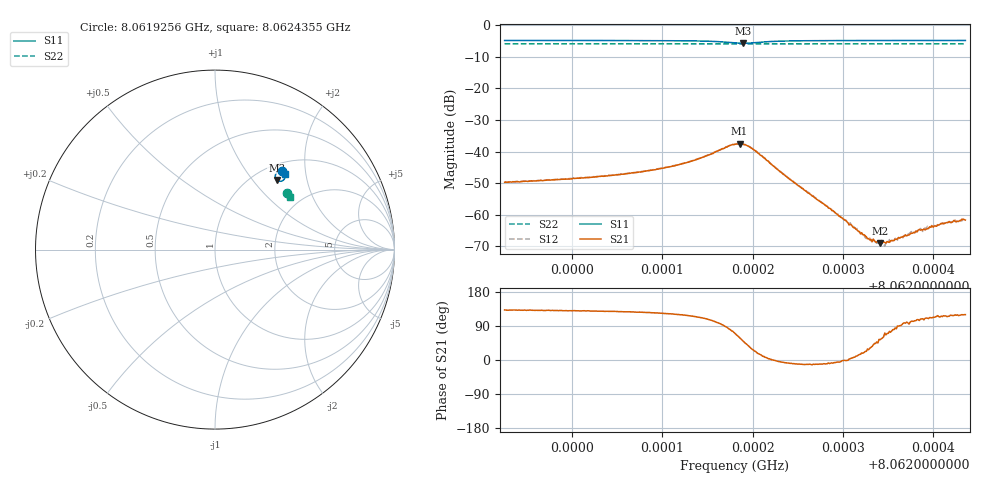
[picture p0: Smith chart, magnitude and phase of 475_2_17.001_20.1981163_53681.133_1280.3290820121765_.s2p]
#  HZ  S  RI  R  50.00
! Rohde & Schwarz Vector Network Analyzer
! Rohde-Schwarz,ZNB20-2Port,1311601062101988,3.16
! Created: UTC 3/20/2024, 11:13:20 PM
! freq[Hz]  re:S11  im:S11  re:S21  im:S21  re:S12  im:S12  re:S22  im:S22
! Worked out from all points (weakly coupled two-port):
!   401 points, 8.0619256 GHz to 8.0624355 GHz, reference 50 ohm
!   highest |S21| = -37.51 dB at 8.0621856 GHz (marker M1); lowest = -69.1 dB at 8.0623411 GHz (marker M2)
!   lowest |S11| = -5.7 dB at 8.0621894 GHz (marker M3), VSWR 3.15, Z = 62.9 + j66.8 ohm
!   |S11| at or under -10 dB: nowhere
!   |S22| runs from -5.9 to -5.8 dB; largest |S21 - S12| = 0.00091
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8.06192556e9  0.3722 0.4396  -0.00219 0.00242  -0.00206 0.00258  0.4012 0.3155
8.06201097e9  0.3786 0.4337  -0.00245 0.00295  -0.0023 0.00312  0.4043 0.3113
8.06204921e9  0.382 0.4301  -0.00263 0.00335  -0.00246 0.00355  0.4058 0.3093
8.06209638e9  0.3865 0.4235  -0.00295 0.00442  -0.00272 0.00466  0.4074 0.3068
8.06213335e9  0.3903 0.4128  -0.00311 0.00644  -0.00271 0.00666  0.4088 0.3045
8.06218052e9  0.3622 0.3804  0.00444 0.0122  0.0052 0.012  0.4087 0.3011
8.06218562e9  0.3513 0.383  0.00686 0.0114  0.00758 0.0111  0.4084 0.3011
8.06218944e9  0.3439 0.388  0.00841 0.01  0.00903 0.00964  0.4083 0.3013
8.06220219e9  0.3359 0.4128  0.00962 0.00419  0.00997 0.00355  0.4087 0.3019
8.06223916e9  0.3612 0.4355  0.00378 -0.000542  0.00379 -0.000762  0.4114 0.3008
8.06226593e9  0.3712 0.4346  0.00193 -0.000424  0.00197 -0.00051  0.4126 0.2994
8.06230545e9  0.3789 0.4315  0.000745 -1.04e-05  0.000767 -3.84e-05  0.4144 0.2972
8.06232584e9  0.3816 0.4301  0.000411 0.000174  0.000397 0.000131  0.4151 0.2961
8.06232967e9  0.3821 0.4298  0.000342 0.000206  0.000374 0.000204  0.4152 0.296
8.06233604e9  0.3827 0.4293  0.000268 0.000255  0.000292 0.000226  0.4156 0.2955
8.06234114e9  0.3833 0.4289  0.000207 0.000282  0.000253 0.000279  0.4156 0.2953
8.06234751e9  0.384 0.4285  0.000142 0.000325  0.000162 0.000314  0.416 0.2949
8.06235134e9  0.3843 0.4283  9.13e-05 0.000352  0.000108 0.000388  0.416 0.2948
8.06237429e9  0.3865 0.4268  -8.32e-05 0.000486  -5.94e-05 0.000512  0.4168 0.2936
8.06239851e9  0.3887 0.4251  -0.000244 0.000619  -0.000224 0.000659  0.4177 0.2923
8.06241508e9  0.39 0.4242  -0.00031 0.000684  -0.000302 0.00067  0.4183 0.2915
8.06243548e9  0.3915 0.4229  -0.000407 0.000712  -0.00036 0.000746  0.419 0.2904
